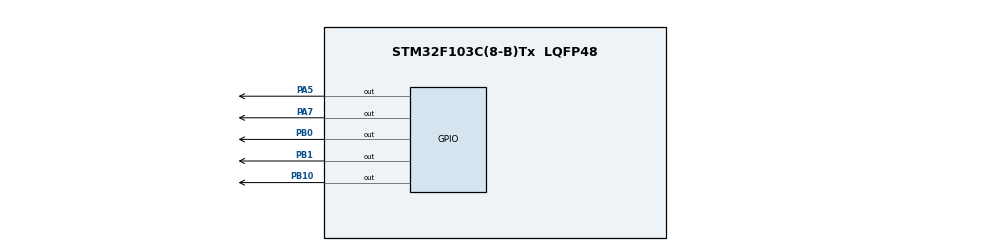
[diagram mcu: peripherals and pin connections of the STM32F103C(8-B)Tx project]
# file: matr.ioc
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Mcu.Family=STM32F1
Mcu.Name=STM32F103C(8-B)Tx
Mcu.Package=LQFP48
NVIC.PriorityGroup=NVIC_PRIORITYGROUP_4
PA13.Mode=Serial_Wire
PA13.Signal=SYS_JTMS-SWDIO
PA14.Mode=Serial_Wire
PA14.Signal=SYS_JTCK-SWCLK
PA5.Signal=GPIO_Output
PA7.Signal=GPIO_Output
PB0.Signal=GPIO_Output
PB1.Signal=GPIO_Output
PB10.Signal=GPIO_Output
PD0-OSC_IN.Mode=HSE-External-Oscillator
PD0-OSC_IN.Signal=RCC_OSC_IN
PD1-OSC_OUT.Mode=HSE-External-Oscillator
PD1-OSC_OUT.Signal=RCC_OSC_OUT
ProjectManager.HeapSize=0x200
ProjectManager.StackSize=0x400
ProjectManager.TargetToolchain=STM32CubeIDE
RCC.APB1Freq_Value=8000000
RCC.APB2Freq_Value=8000000
board=custom

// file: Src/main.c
/* USER CODE BEGIN Header */
/**
  ******************************************************************************
  * @file           : main.c
  * @brief          : Main program body
  ******************************************************************************
  * @attention
  *
  * <h2><center>&copy; Copyright (c) 2019 STMicroelectronics.
  * All rights reserved.</center></h2>
  *
  * This software component is licensed by ST under BSD 3-Clause license,
  * the "License"; You may not use this file except in compliance with the
  * License. You may obtain a copy of the License at:
  *                        opensource.org/licenses/BSD-3-Clause
  *
  ******************************************************************************
  */
/* USER CODE END Header */

#include "main.h"
#include "matrix.h"

void SystemClock_Config(void);
static void MX_GPIO_Init(void);

int main(void)
{

  /* MCU Configuration--------------------------------------------------------*/

  /* Reset of all peripherals, Initializes the Flash interface and the Systick. */
  HAL_Init();

  /* Configure the system clock */
  SystemClock_Config();

  /* Initialize all configured peripherals */
  MX_GPIO_Init();

  /* Infinite loop */
  while (1)
  {

    /* USER CODE BEGIN 3 */
	  Mat m = init_mat(4,4);
	      m.data[0 * 4 + 0] = 4.4;
	      m.data[0 * 4 + 1] = 3;
	      m.data[0 * 4 + 2] = 1;
	      m.data[0 * 4 + 3] = 1;

	      m.data[1 * 4 + 0] = 1;
	      m.data[1 * 4 + 1] = 2;
	      m.data[1 * 4 + 2] = 1;
	      m.data[1 * 4 + 3] = 1;

	      m.data[2 * 4 + 0] = 1;
	      m.data[2 * 4 + 1] = 0.5;
	      m.data[2 * 4 + 2] = 9.3461;
	      m.data[2 * 4 + 3] = 1;

	      m.data[3 * 4 + 0] = 1;
	      m.data[3 * 4 + 1] = 0.5;
	      m.data[3 * 4 + 2] = 4;
	      m.data[3 * 4 + 3] = 3;

	      Mat m3 = cholesky(m);
	      Mat m4 = adjoint(m);
	      // Mat m4 =  cholsky_inv(m3);
	       // cout<< det_cholesky(m3)*det_cholesky(m3) << "\n";

	      Mat m5 = inverse(m);
  }
  /* USER CODE END 3 */
}

void SystemClock_Config(void)
{
  RCC_OscInitTypeDef RCC_OscInitStruct = {0};
  RCC_ClkInitTypeDef RCC_ClkInitStruct = {0};

  /** Initializes the CPU, AHB and APB busses clocks
  */
  RCC_OscInitStruct.OscillatorType = RCC_OSCILLATORTYPE_HSI;
  RCC_OscInitStruct.HSIState = RCC_HSI_ON;
  RCC_OscInitStruct.HSICalibrationValue = RCC_HSICALIBRATION_DEFAULT;
  RCC_OscInitStruct.PLL.PLLState = RCC_PLL_NONE;
  if (HAL_RCC_OscConfig(&RCC_OscInitStruct) != HAL_OK)
  {
    Error_Handler();
  }
  /** Initializes the CPU, AHB and APB busses clocks
  */
  RCC_ClkInitStruct.ClockType = RCC_CLOCKTYPE_HCLK|RCC_CLOCKTYPE_SYSCLK
                              |RCC_CLOCKTYPE_PCLK1|RCC_CLOCKTYPE_PCLK2;
  RCC_ClkInitStruct.SYSCLKSource = RCC_SYSCLKSOURCE_HSI;
  RCC_ClkInitStruct.AHBCLKDivider = RCC_SYSCLK_DIV1;
  RCC_ClkInitStruct.APB1CLKDivider = RCC_HCLK_DIV1;
  RCC_ClkInitStruct.APB2CLKDivider = RCC_HCLK_DIV1;

  if (HAL_RCC_ClockConfig(&RCC_ClkInitStruct, FLASH_LATENCY_0) != HAL_OK)
  {
    Error_Handler();
  }
}

static void MX_GPIO_Init(void)
{
  GPIO_InitTypeDef GPIO_InitStruct = {0};

  /* GPIO Ports Clock Enable */
  __HAL_RCC_GPIOD_CLK_ENABLE();
  __HAL_RCC_GPIOA_CLK_ENABLE();
  __HAL_RCC_GPIOB_CLK_ENABLE();

  /*Configure GPIO pin Output Level */
  HAL_GPIO_WritePin(GPIOA, GPIO_PIN_5|GPIO_PIN_7, GPIO_PIN_RESET);

  /*Configure GPIO pin Output Level */
  HAL_GPIO_WritePin(GPIOB, GPIO_PIN_0|GPIO_PIN_1|GPIO_PIN_10, GPIO_PIN_RESET);

  /*Configure GPIO pins : PA5 PA7 */
  GPIO_InitStruct.Pin = GPIO_PIN_5|GPIO_PIN_7;
  GPIO_InitStruct.Mode = GPIO_MODE_OUTPUT_PP;
  GPIO_InitStruct.Pull = GPIO_NOPULL;
  GPIO_InitStruct.Speed = GPIO_SPEED_FREQ_LOW;
  HAL_GPIO_Init(GPIOA, &GPIO_InitStruct);

  /*Configure GPIO pins : PB0 PB1 PB10 */
  GPIO_InitStruct.Pin = GPIO_PIN_0|GPIO_PIN_1|GPIO_PIN_10;
  GPIO_InitStruct.Mode = GPIO_MODE_OUTPUT_PP;
  GPIO_InitStruct.Pull = GPIO_NOPULL;
  GPIO_InitStruct.Speed = GPIO_SPEED_FREQ_LOW;
  HAL_GPIO_Init(GPIOB, &GPIO_InitStruct);

}

void Error_Handler(void)
{
}

/************************ (C) COPYRIGHT STMicroelectronics *****END OF FILE****/
